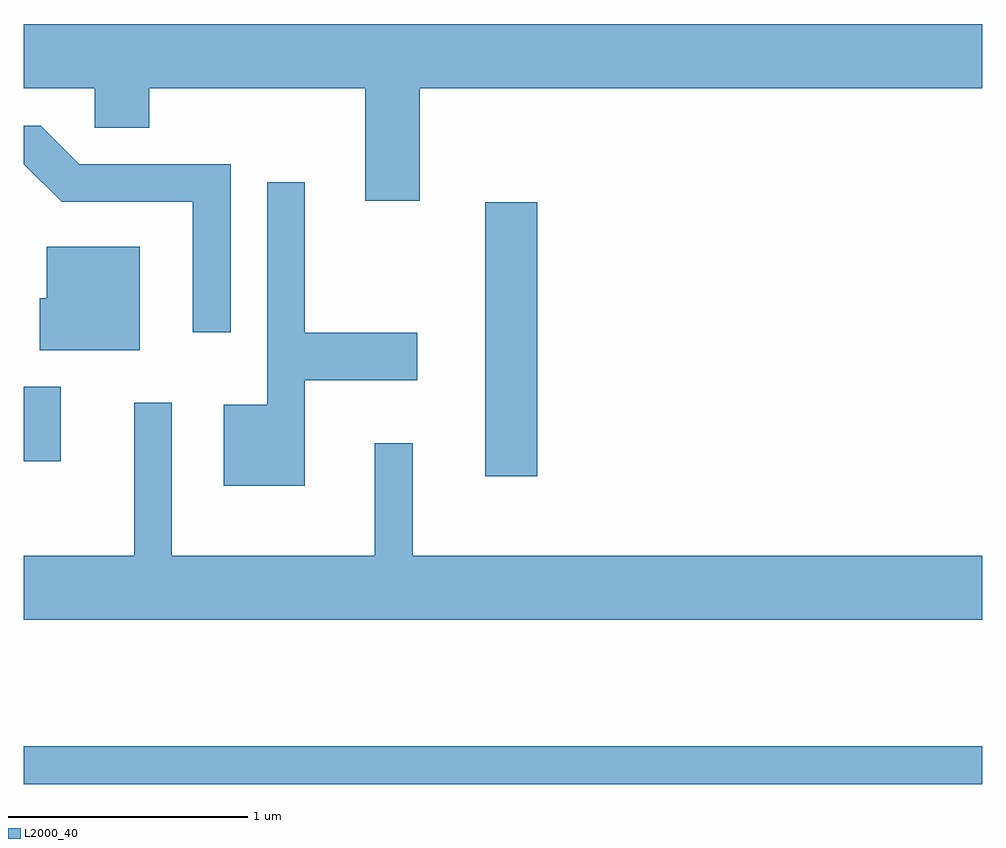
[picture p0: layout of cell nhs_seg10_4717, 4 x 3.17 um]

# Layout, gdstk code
import gdstk
lib = gdstk.Library(unit=1e-6, precision=1e-09)
def R(c, l, rs):  # rectangles x0, y0, x1, y1
    for r in rs: c.add(gdstk.rectangle(r[:2], r[2:], *l))
def P(c, l, *ps):  # polygons
    for p in ps: c.add(gdstk.Polygon(p, *l))
L2000_40 = (2000, 40)

nhs_seg10_4717 = lib.new_cell('nhs_seg10_4717')
R(nhs_seg10_4717, L2000_40, [(323.611,2168.731,327.611,2168.889), (325.536,2170.016,325.754,2171.159), (323.611,2170.078,323.764,2170.389)])
P(nhs_seg10_4717, L2000_40, [(325.264,2171.636),(327.611,2171.636),(327.611,2171.904),(323.611,2171.904),(323.611,2171.636),(323.906,2171.636),(323.906,2171.471),(324.134,2171.471),(324.134,2171.636),(325.036,2171.636),(325.036,2171.166),(325.264,2171.166)],
  [(324.474,2171.319),(323.842,2171.319),(323.682,2171.479),(323.611,2171.479),(323.611,2171.319),(323.769,2171.161),(324.316,2171.161),(324.316,2170.618),(324.474,2170.618)],
  [(324.784,2170.416),(325.254,2170.416),(325.254,2170.614),(324.784,2170.614),(324.784,2171.243),(324.626,2171.243),(324.626,2170.314),(324.446,2170.314),(324.446,2169.976),(324.784,2169.976)],
  [(324.094,2170.974),(323.706,2170.974),(323.706,2170.759),(323.676,2170.759),(323.676,2170.541),(324.094,2170.541)],
  [(327.611,2169.684),(325.234,2169.684),(325.234,2170.153),(325.076,2170.153),(325.076,2169.684),(324.229,2169.684),(324.229,2170.323),(324.071,2170.323),(324.071,2169.684),(323.611,2169.684),(323.611,2169.416),(327.611,2169.416)])

lib.write_gds('nhs_seg10_4717.gds')
